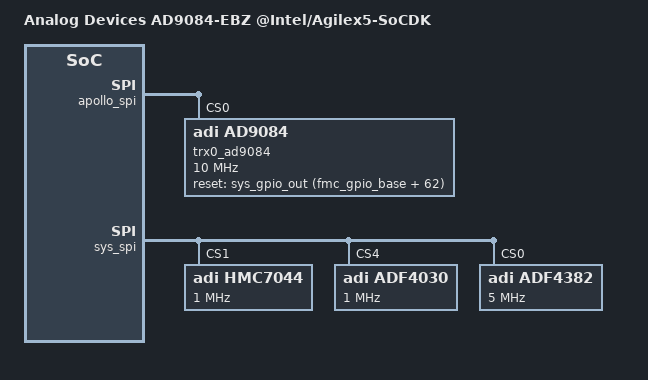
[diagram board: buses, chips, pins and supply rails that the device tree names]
// SPDX-License-Identifier: GPL-2.0
/*
 * Analog Devices AD9084-EBZ
 * https://wiki.analog.com/resources/tools-software/linux-drivers/iio-mxfe/ad9084
 *
 * hdl_project: <ad9084_ebz/a5e>
 * board_revision: <>
 *
 * Copyright (C) 2026 Analog Devices Inc.
 */
/dts-v1/;

#include "socfpga_agilex5_socdk.dtsi"
#include <dt-bindings/interrupt-controller/irq.h>
#include <dt-bindings/iio/adc/adi,ad9088.h>
#include <dt-bindings/jesd204/adxcvr.h>
#include <dt-bindings/iio/frequency/hmc7044.h>

/*
 * The FMC GPIOs live in the upper half of the 64-bit GPIO space, which the
 * base design exports through sys_gpio_out/sys_gpio_in. Linux numbers that
 * bank from 0, so subtract the 32 lower (board) bits.
 */
#define fmc_gpio_base (-32)

#define AD9084_RX_LANERATE_KHZ	10000000
#define AD9084_TX_LANERATE_KHZ	10000000
#define AD9084_LINK_CLK		    250000000
#define AD9084_REF_CLK		    250000000

#ifndef DEVICE_PROFILE_NAME
#define DEVICE_PROFILE_NAME	"204B_L2_M4_NP16_16p0_16x4.bin"
#endif

#ifndef SYSREF_CLK_MHz
#define SYSREF_CLK_MHz		(1953125)
#endif

/ {
	model = "Analog Devices AD9084-EBZ @Intel/Agilex5-SoCDK";

	clocks {
		sys_clk: sys_clk {
			#clock-cells = <0x0>;
			compatible = "fixed-clock";
			clock-frequency = <100000000>;
			clock-output-names = "system_clock";
		};

		dma_clk: dma_clk {
			#clock-cells = <0x0>;
			compatible = "fixed-clock";
			clock-frequency = <250000000>;
			clock-output-names = "dma_clk";
		};

		rx_link_clk: rx_link_clk {
			#clock-cells = <0x0>;
			compatible = "fixed-clock";
			clock-frequency = <AD9084_LINK_CLK>;
			clock-output-names = "rx_link_clk";
		};

		tx_link_clk: tx_link_clk {
			#clock-cells = <0x0>;
			compatible = "fixed-clock";
			clock-frequency = <AD9084_LINK_CLK>;
			clock-output-names = "tx_link_clk";
		};

		clkin_125: clock@0 {
			#clock-cells = <0>;
			compatible = "fixed-clock";
			clock-frequency = <125000000>;
			clock-output-names = "clkin_125";
		};
	};
};

&sys_hps_bridges {
	/*
	 * Address map from projects/ad9084_ebz/common/ad9084_ebz_qsys.tcl.
	 * Interrupt numbers are the HDL ad_cpu_interrupt index + 17 (the base
	 * design maps sys_gpio_in irq 5 to GIC 22).
	 */
	axi_ad9084_rx_jesd: axi-jesd204-rx@C0000 {
		compatible = "adi,axi-jesd204-rx-1.0";
		reg = <0x000C0000 0x4000>;

		interrupt-parent = <&intc>;
		interrupts = <0 32 IRQ_TYPE_LEVEL_HIGH>;

		clocks = <&sys_clk>, <&rx_link_clk>, <&hmc7044 9>, <&axi_ad9084_adxcvr_rx 0>;
		clock-names = "s_axi_aclk", "link_clk", "device_clk", "lane_clk";

		#clock-cells = <0>;
		clock-output-names = "jesd_rx_lane_clk";

		jesd204-device;
		#jesd204-cells = <2>;
		jesd204-inputs = <&axi_ad9084_adxcvr_rx 0 FRAMER_LINK_A0_RX>;
	};

	/*
	 * The Agilex 5 GTS PHY is a stand-alone core split over two instances,
	 * one per transceiver bank, behind separate Avalon bridges: jesd204_phy_a
	 * at 0x01000000 and jesd204_phy_b at 0x02000000. adxcfg-N is indexed by
	 * the global lane number, so lanes 0..3 are PHY A and lanes 4..7 PHY B.
	 *
	 * The per-lane stride is 1 MB, not the 0x40000 the address width suggests:
	 * jesd204_phy_glue_hw.tcl sizes reconfig_avmm as 18 + log2(NUM_OF_LANES)
	 * bits, and that bus is WORD addressed, so 20 bits spans 4 MB of byte
	 * address space per PHY.
	 */
	axi_ad9084_adxcvr_rx: axi-ad9084-rx-xcvr@C4000 {
		compatible = "adi,altera-adxcvr-1.00.a";
		reg = <0x000C4000 0x00002000>,
			<0x01000000 0x00100000>,
			<0x01100000 0x00100000>,
			<0x01200000 0x00100000>,
			<0x01300000 0x00100000>;
			// <0x02000000 0x00100000>,
			// <0x02100000 0x00100000>,
			// <0x02200000 0x00100000>,
			// <0x02300000 0x00100000>;
		reg-names = "adxcvr",
			"adxcfg-0", "adxcfg-1",
			"adxcfg-2", "adxcfg-3";
			// "adxcfg-4", "adxcfg-5", "adxcfg-6", "adxcfg-7";

		clocks = <&hmc7044 11>, <&rx_link_clk>;
		clock-names = "ref", "link";

		#clock-cells = <0>;
		clock-output-names = "jesd204_rx_lane_clock";

		adi,stratix10;
		adi,agilex;
		adi,skip-pll-reconfiguration;

		/* adxcvr uses this pin to tell the FPGA PLL that the reference clock is stable */
		refclk-ready-gpios = <&sys_gpio_out (fmc_gpio_base + 56) 0>;

		jesd204-device;
		#jesd204-cells = <2>;
		jesd204-inputs = <&hmc7044 0 FRAMER_LINK_A0_RX>;
	};

	axi_ad9084_tx_jesd: axi-jesd204-tx@C8000 {
		compatible = "adi,axi-jesd204-tx-1.0";
		reg = <0x000C8000 0x4000>;

		interrupt-parent = <&intc>;
		interrupts = <0 33 IRQ_TYPE_LEVEL_HIGH>;

		clocks = <&sys_clk>, <&tx_link_clk>, <&hmc7044 8>, <&axi_ad9084_adxcvr_tx 0>;
		clock-names = "s_axi_aclk", "link_clk", "device_clk", "lane_clk";

		#clock-cells = <0>;
		clock-output-names = "jesd_tx_lane_clk";

		jesd204-device;
		#jesd204-cells = <2>;
		jesd204-inputs = <&axi_ad9084_adxcvr_tx 0 DEFRAMER_LINK_A0_TX>;
	};

	/*
	 * The PHY is duplex, so the TX adxcvr shares the same AVMM windows as the
	 * RX one.
	 *
	 * "gts-pll" is not a separate Qsys slave - intel_systemclk_gts is
	 * instantiated with conduits only (a5e/system_qsys.tcl). The GTS system PLL
	 * registers are reached through a transceiver reconfig window instead, at a
	 * fixed offset inside PHY B's 4 MB aperture. The driver only supports one
	 * such window, so bank A's PLL is not reachable this way.
	 */
	axi_ad9084_adxcvr_tx: axi-ad9084-tx-xcvr@CC000 {
		compatible = "adi,altera-adxcvr-1.00.a";
		reg = <0x000CC000 0x00002000>,
			<0x020a6000 0x00000080>,
			<0x01000000 0x00100000>,
			<0x01100000 0x00100000>,
			<0x01200000 0x00100000>,
			<0x01300000 0x00100000>;
			// <0x02000000 0x00100000>,
			// <0x02100000 0x00100000>,
			// <0x02200000 0x00100000>,
			// <0x02300000 0x00100000>;
		reg-names = "adxcvr", "gts-pll",
			"adxcfg-0", "adxcfg-1",
			"adxcfg-2", "adxcfg-3";
			// "adxcfg-4", "adxcfg-5", "adxcfg-6", "adxcfg-7";

		clocks = <&hmc7044 10>, <&tx_link_clk>;
		clock-names = "ref", "link";

		#clock-cells = <0>;
		clock-output-names = "jesd204_tx_lane_clock";

		adi,stratix10;
		adi,agilex;
		adi,skip-pll-reconfiguration;

		/* adxcvr uses this pin to tell the FPGA PLL that the reference clock is stable */
		refclk-ready-gpios = <&sys_gpio_out (fmc_gpio_base + 57) 0>;

		jesd204-device;
		#jesd204-cells = <2>;
		jesd204-inputs = <&hmc7044 0 DEFRAMER_LINK_A0_TX>;
	};

	/*
	 * s_axi is 16-bit addressed (64 kB), so these cannot live in the 8 kB grid
	 * the other peripherals use - see ad9084_ebz_qsys.tcl.
	 */
	axi_ad9084_rx_data_offload: axi-data-offload-0@100000 {
		compatible = "adi,axi-data-offload-1.0.a";
		reg = <0x00100000 0x00010000>;
	};

	axi_ad9084_tx_data_offload: axi-data-offload-1@110000 {
		compatible = "adi,axi-data-offload-1.0.a";
		reg = <0x00110000 0x00010000>;
	};

	rx_dma: rx-dmac@D8000 {
		compatible = "adi,axi-dmac-1.00.a";
		reg = <0x000D8000 0x00004000>;
		interrupt-parent = <&intc>;
		interrupts = <0 28 IRQ_TYPE_LEVEL_HIGH>;
		#dma-cells = <1>;
		clocks = <&dma_clk>;
	};

	tx_dma: tx-dmac@DC000 {
		compatible = "adi,axi-dmac-1.00.a";
		reg = <0x000DC000 0x00004000>;
		interrupt-parent = <&intc>;
		interrupts = <0 29 IRQ_TYPE_LEVEL_HIGH>;
		#dma-cells = <1>;
		clocks = <&dma_clk>;
	};

	axi_ad9084_core_rx: axi-ad9084-rx-hpc@D2000 {
		compatible = "adi,axi-ad9081-rx-1.0";
		reg = <0x000D2000 0x00002000>;
		dmas = <&rx_dma 0>;
		dma-names = "rx";
		spibus-connected = <&trx0_ad9084>;

		jesd204-device;
		#jesd204-cells = <2>;
		jesd204-inputs = <&axi_ad9084_rx_jesd 0 FRAMER_LINK_A0_RX>;
	};

	axi_ad9084_core_tx: axi-ad9084-tx-hpc@D4000 {
		compatible = "adi,axi-ad9081-tx-1.0";
		reg = <0x000D4000 0x00004000>;
		dmas = <&tx_dma 0>;
		dma-names = "tx";
		clocks = <&trx0_ad9084 1>;
		clock-names = "sampl_clk";
		spibus-connected = <&trx0_ad9084>;

		adi,axi-pl-fifo-enable;
		adi,axi-data-offload-connected = <&axi_ad9084_tx_data_offload>;

		jesd204-device;
		#jesd204-cells = <2>;
		jesd204-inputs = <&axi_ad9084_tx_jesd 0 DEFRAMER_LINK_A0_TX>;
	};

	/* Apollo status inputs, 20-bit input-only PIO */
	axi_ad9084_gpio: gpio@E8000 {
		compatible = "altr,pio-1.0";
		reg = <0x000E8000 0x00000010>;
		altr,gpio-bank-width = <20>;
		resetvalue = <0>;
		interrupt-parent = <&intc>;
		interrupts = <0 34 IRQ_TYPE_LEVEL_HIGH>;
		altr,interrupt-type = <0>;
		#gpio-cells = <2>;
		gpio-controller;
		#interrupt-cells = <2>;
		interrupt-controller;
	};

	/*
	 * Second SPI master, dedicated to the AD9084 itself. The clock chip and
	 * the rest of the board SPI devices hang off sys_spi.
	 */
	apollo_spi: spi@EA000 {
		compatible = "altr,spi-1.0";
		reg = <0x000EA000 0x00000020>;
		interrupt-parent = <&intc>;
		interrupts = <0 35 IRQ_TYPE_LEVEL_HIGH>;
		#address-cells = <0x1>;
		#size-cells = <0x0>;
	};
};

&sys_spi {
	status = "okay";

	hmc7044: hmc7044@1 {
		#address-cells = <1>;
		#size-cells = <0>;
		#clock-cells = <1>;
		compatible = "adi,hmc7044";
		reg = <1>;
		spi-max-frequency = <1000000>;

		jesd204-device;
		#jesd204-cells = <2>;

		// /* The adf4030 is the SYSREF provider; it feeds this device. */
		jesd204-inputs =
			<&adf4030 0 FRAMER_LINK_A0_RX>,
			<&adf4030 0 DEFRAMER_LINK_A0_TX>;

		adi,jesd204-max-sysref-frequency-hz = <2000000>; /* 2 MHz */

		adi,pll1-clkin-frequencies = <125000000 125000000 125000000 125000000>;
		adi,vcxo-frequency = <125000000>;

		adi,pll1-loop-bandwidth-hz = <200>;

		adi,pll2-output-frequency = <2500000000>;

		adi,sysref-timer-divider = <1024>;
		adi,pulse-generator-mode = <HMC7044_PULSE_GEN_CONT_PULSE>;

		adi,clkin0-buffer-mode  = <0x07>;
		adi,clkin1-buffer-mode  = <0x07>;
		adi,oscin-buffer-mode = <0x15>;

		adi,gpi-controls = <0x00 0x00 0x00 0x00>;
		adi,gpo-controls = <0x37 0x33 0x00 0x00>;

		clock-output-names =
				"hmc7044_out0", "hmc7044_out1", "hmc7044_out2",
				"hmc7044_out3", "hmc7044_out4", "hmc7044_out5",
				"hmc7044_out6", "hmc7044_out7", "hmc7044_out8",
				"hmc7044_out9", "hmc7044_out10", "hmc7044_out11",
				"hmc7044_out12", "hmc7044_out13";

		hmc7044_c1: channel@1 {
			reg = <1>;
			adi,extended-name = "ADF4030_REFIN";
			adi,divider = <20>;	/* 125 MHz */
			adi,driver-mode = <HMC7044_DRIVER_MODE_LVDS>;
		};

		/* 2500 MHz / 10 = 250 MHz */
		hmc7044_c2: channel@2 {
			reg = <2>;
			adi,extended-name = "DEV_REFCLK";
			adi,divider = <10>;
			adi,driver-mode = <HMC7044_DRIVER_MODE_LVDS>;
		};
		hmc7044_c3: channel@3 {
			reg = <3>;
			adi,extended-name = "DEV_SYSREF";
			adi,divider = <1280>;
			adi,driver-mode = <HMC7044_DRIVER_MODE_LVDS>;
			adi,jesd204-sysref-chan;
		};
		hmc7044_c8: channel@8 {
			reg = <8>;
			adi,extended-name = "CORE_CLK_TX";
			adi,divider = <10>;
			adi,driver-mode = <HMC7044_DRIVER_MODE_LVDS>;
		};
		hmc7044_c9: channel@9 {
			reg = <9>;
			adi,extended-name = "CORE_CLK_RX";
			adi,divider = <10>;
			adi,driver-mode = <HMC7044_DRIVER_MODE_LVDS>;
		};
		hmc7044_c10: channel@10 {
			reg = <10>;
			adi,extended-name = "FPGA_REFCLK_0";
			adi,divider = <10>;
			adi,driver-mode = <HMC7044_DRIVER_MODE_LVDS>;
		};
		hmc7044_c11: channel@11 {
			reg = <11>;
			adi,extended-name = "FPGA_REFCLK_1";
			adi,divider = <10>;
			adi,driver-mode = <HMC7044_DRIVER_MODE_LVDS>;
		};
		hmc7044_c13: channel@13 {
			reg = <13>;
			adi,extended-name = "FPGA_SYSREF";
			adi,divider = <1280>;
			adi,driver-mode = <HMC7044_DRIVER_MODE_LVDS>;
			adi,jesd204-sysref-chan;
		};
	};

	adf4030: adf4030@4 {
		#clock-cells = <1>;
		compatible = "adi,adf4030";
		reg = <4>;

		#address-cells = <1>;
		#size-cells = <0>;
		#io-channel-cells = <1>;

		spi-max-frequency = <1000000>;
		adi,spi-3wire-enable;
		clocks = <&hmc7044 1>;
		clock-names = "refin";
		clock-output-names = "adf4030_bsync_0", "adf4030_bsync_1",
			"adf4030_bsync_2", "adf4030_bsync_3", "adf4030_bsync_4",
			"adf4030_bsync_5", "adf4030_bsync_6", "adf4030_bsync_7",
			"adf4030_bsync_8", "adf4030_bsync_9";
		label = "adf4030";

		jesd204-device;
		#jesd204-cells = <2>;
		jesd204-sysref-provider;

		adi,jesd204-max-sysref-frequency-hz = <2000000>;

		adi,vco-frequency-hz = <2500000000>;
		adi,bsync-frequency-hz = <SYSREF_CLK_MHz>;
		adi,bsync-autoalign-reference-channel = <0>;
		adi,bsync-autoalign-iteration-count = <6>;
		adi,bsync-secondary-frequency-hz = <12500000>;

		channel@0 {
			/* hmc output */
			reg = <0>;
			adi,extended-name = "ADF4030_SCLKOUT3";
			// auto-align-on-sync-en;
			adi,rcm = <1>;
			adi,link-rx-en;
			adi,float-rx-en;
		};
		channel@1 {
			/* Output debug loopback */
			reg = <1>;
			adi,extended-name = "BSYNC1_DEBUG";
			adi,input-output-reconfig-en;
			adi,rcm = <62>; /* LVDS */
			adi,link-rx-en;
			adi,float-rx-en;
			adi,output-en;
		};
		channel@2 {
			/* Input debug loopback */
			reg = <2>;
			adi,extended-name = "BSYNC2_DEBUG";
			adi,input-output-reconfig-en;
			adi,rcm = <62>;
			adi,link-rx-en;
			adi,float-rx-en;
		};
		channel@5 {
			/* apollo input */
			reg = <5>;
			adi,extended-name = "APOLLO_SYSREF";
			auto-align-on-sync-en;
			adi,output-en;
			adi,input-output-reconfig-en;
			adi,rcm = <1>;
			adi,link-rx-en;
			adi,float-rx-en;
		};
		channel@8 {
			/* fpga sysref_in_p/n input unused*/
			reg = <8>;
			adi,extended-name = "SYSREF_IN_FMC";
			adi,output-en;
			adi,input-output-reconfig-en;
			adi,rcm = <62>;
		};
		channel@9 {
			/* fpga sysref_out_p/n input */
			reg = <9>;
			adi,extended-name = "SYSREF_OUT_FMC";
			auto-align-on-sync-en;
			adi,output-en;
			adi,link-rx-en;
			adi,float-rx-en;
			adi,input-output-reconfig-en;
		};
	};

	adf4382: adf4382@0 {
		#clock-cells = <1>;
		compatible = "adi,adf4382";
		reg = <0>;
		spi-max-frequency = <5000000>;
		adi,spi-3wire-enable;
		clocks = <&clkin_125>;
		clock-names = "ref_clk";
		clock-output-names = "adf4382_out_clk";
		adi,power-up-frequency = /bits/ 64 <10800000000>;
		label = "adf4382";
		#io-channel-cells = <1>;
	};
};

&apollo_spi {
	status = "okay";

	trx0_ad9084: ad9084@0 {
		#address-cells = <1>;
		#size-cells = <0>;
		compatible = "adi,ad9084";
		reg = <0>;
		spi-max-frequency = <10000000>;

		/* Clocks */
		clocks = <&adf4382 0>;
		clock-names = "dev_clk";
		dev_clk-clock-scales = <1 10>;

		clock-output-names = "rx_sampl_clk", "tx_sampl_clk";
		#clock-cells = <1>;

		jesd204-device;
		#jesd204-cells = <2>;
		jesd204-top-device = <0>; /* This is the TOP device */
		jesd204-ignore-errors;
		jesd204-link-ids = <DEFRAMER_LINK_A0_TX DEFRAMER_LINK_B0_TX FRAMER_LINK_A0_RX FRAMER_LINK_B0_RX>;


		jesd204-inputs =
			<&axi_ad9084_core_rx 0 FRAMER_LINK_A0_RX>,
			<&axi_ad9084_core_tx 0 DEFRAMER_LINK_A0_TX>;

		reset-gpios = <&sys_gpio_out (fmc_gpio_base + 62) 0>;

		adi,device-profile-fw-name = DEVICE_PROFILE_NAME;

		adi,jrx0-physical-lane-mapping = <5  1  3 7 11 11 11 11 11 11 11 11>;
		adi,jtx0-logical-lane-mapping = <11 11 11 1 11 11 11 11  2  3 11  0>;

		adi,jrx1-physical-lane-mapping = <1  7 10  3 11 11 11 11 11 11 11 11>;
		adi,jtx1-logical-lane-mapping = <11 11  1  0 11  2 11  3 11 11 11 11>;

		adi,jtx-ser-amplitude = <0>;
		adi,jtx-ser-pre-emphasis = <2>;
		adi,jtx-ser-post-emphasis = <1>;

		adi,subclass = <1>;

		adi,invalid-en;
	};
};
